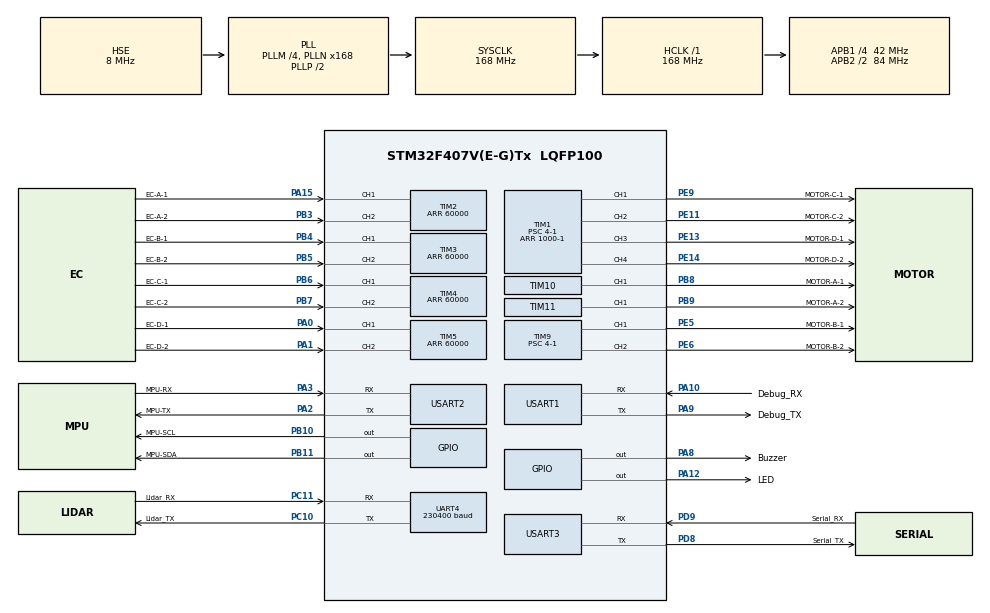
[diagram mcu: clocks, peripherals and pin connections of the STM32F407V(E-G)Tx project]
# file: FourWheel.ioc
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Dma.Request0=USART1_TX
Dma.Request1=USART1_RX
Dma.Request2=USART3_RX
Dma.Request3=USART3_TX
Dma.Request4=USART2_TX
Dma.USART1_RX.1.Direction=DMA_PERIPH_TO_MEMORY
Dma.USART1_RX.1.FIFOMode=DMA_FIFOMODE_DISABLE
Dma.USART1_RX.1.Instance=DMA2_Stream2
Dma.USART1_RX.1.MemDataAlignment=DMA_MDATAALIGN_BYTE
Dma.USART1_RX.1.MemInc=DMA_MINC_ENABLE
Dma.USART1_RX.1.Mode=DMA_NORMAL
Dma.USART1_RX.1.PeriphDataAlignment=DMA_PDATAALIGN_BYTE
Dma.USART1_RX.1.PeriphInc=DMA_PINC_DISABLE
Dma.USART1_RX.1.Priority=DMA_PRIORITY_LOW
Dma.USART1_TX.0.Direction=DMA_MEMORY_TO_PERIPH
Dma.USART1_TX.0.FIFOMode=DMA_FIFOMODE_DISABLE
Dma.USART1_TX.0.Instance=DMA2_Stream7
Dma.USART1_TX.0.MemDataAlignment=DMA_MDATAALIGN_BYTE
Dma.USART1_TX.0.MemInc=DMA_MINC_ENABLE
Dma.USART1_TX.0.Mode=DMA_NORMAL
Dma.USART1_TX.0.PeriphDataAlignment=DMA_PDATAALIGN_BYTE
Dma.USART1_TX.0.PeriphInc=DMA_PINC_DISABLE
Dma.USART1_TX.0.Priority=DMA_PRIORITY_LOW
Dma.USART2_TX.4.Direction=DMA_MEMORY_TO_PERIPH
Dma.USART2_TX.4.FIFOMode=DMA_FIFOMODE_DISABLE
Dma.USART2_TX.4.Instance=DMA1_Stream6
Dma.USART2_TX.4.MemDataAlignment=DMA_MDATAALIGN_BYTE
Dma.USART2_TX.4.MemInc=DMA_MINC_ENABLE
Dma.USART2_TX.4.Mode=DMA_NORMAL
Dma.USART2_TX.4.PeriphDataAlignment=DMA_PDATAALIGN_BYTE
Dma.USART2_TX.4.PeriphInc=DMA_PINC_DISABLE
Dma.USART2_TX.4.Priority=DMA_PRIORITY_LOW
Dma.USART3_RX.2.Direction=DMA_PERIPH_TO_MEMORY
Dma.USART3_RX.2.FIFOMode=DMA_FIFOMODE_DISABLE
Dma.USART3_RX.2.Instance=DMA1_Stream1
Dma.USART3_RX.2.MemDataAlignment=DMA_MDATAALIGN_BYTE
Dma.USART3_RX.2.MemInc=DMA_MINC_ENABLE
Dma.USART3_RX.2.Mode=DMA_NORMAL
Dma.USART3_RX.2.PeriphDataAlignment=DMA_PDATAALIGN_BYTE
Dma.USART3_RX.2.PeriphInc=DMA_PINC_DISABLE
Dma.USART3_RX.2.Priority=DMA_PRIORITY_LOW
Dma.USART3_TX.3.Direction=DMA_MEMORY_TO_PERIPH
Dma.USART3_TX.3.FIFOMode=DMA_FIFOMODE_DISABLE
Dma.USART3_TX.3.Instance=DMA1_Stream3
Dma.USART3_TX.3.MemDataAlignment=DMA_MDATAALIGN_BYTE
Dma.USART3_TX.3.MemInc=DMA_MINC_ENABLE
Dma.USART3_TX.3.Mode=DMA_NORMAL
Dma.USART3_TX.3.PeriphDataAlignment=DMA_PDATAALIGN_BYTE
Dma.USART3_TX.3.PeriphInc=DMA_PINC_DISABLE
Dma.USART3_TX.3.Priority=DMA_PRIORITY_LOW
FREERTOS.BinarySemaphores01=AnlayOderDataFlag,Dynamic,NULL,Depleted
FREERTOS.INCLUDE_uxTaskGetStackHighWaterMark2=0
FREERTOS.Tasks01=defaultTask,8,128,StartDefaultTask,Default,NULL,Dynamic,NULL,NULL;MoveControlTask,32,256,MoveControl,Default,NULL,Dynamic,NULL,NULL;ReadMpuTask,31,256,ReadMpu,Default,NULL,Dynamic,NULL,NULL;OdarGetTask,24,256,OdarGet,Default,NULL,Dynamic,NULL,NULL;DataSendTask,24,128,DataSend,Default,NULL,Dynamic,NULL,NULL
FREERTOS.configENABLE_FPU=1
FREERTOS.configGENERATE_RUN_TIME_STATS=1
FREERTOS.configUSE_STATS_FORMATTING_FUNCTIONS=1
Mcu.Family=STM32F4
Mcu.Name=STM32F407V(E-G)Tx
Mcu.Package=LQFP100
NVIC.DMA1_Stream1_IRQn=true\:5\:0\:false\:false\:true\:true\:false\:true\:true
NVIC.DMA1_Stream3_IRQn=true\:5\:0\:false\:false\:true\:true\:false\:true\:true
NVIC.DMA1_Stream6_IRQn=true\:5\:0\:false\:false\:true\:true\:false\:true\:true
NVIC.DMA2_Stream2_IRQn=true\:5\:0\:false\:false\:true\:true\:false\:true\:true
NVIC.DMA2_Stream7_IRQn=true\:5\:0\:false\:false\:true\:true\:false\:true\:true
NVIC.PriorityGroup=NVIC_PRIORITYGROUP_4
NVIC.TIM8_TRG_COM_TIM14_IRQn=true\:15\:0\:false\:false\:true\:false\:false\:true\:true
NVIC.TimeBase=TIM8_TRG_COM_TIM14_IRQn
NVIC.TimeBaseIP=TIM14
NVIC.UART4_IRQn=true\:5\:0\:false\:false\:true\:true\:true\:true\:true
NVIC.USART1_IRQn=true\:5\:0\:false\:false\:true\:true\:true\:true\:true
NVIC.USART2_IRQn=true\:5\:0\:false\:false\:true\:true\:true\:true\:true
NVIC.USART3_IRQn=true\:5\:0\:false\:false\:true\:true\:true\:true\:true
PA0-WKUP.GPIO_Label=EC-D-1
PA0-WKUP.GPIO_Speed=GPIO_SPEED_FREQ_VERY_HIGH
PA0-WKUP.Signal=S_TIM5_CH1
PA1.GPIO_Label=EC-D-2
PA1.GPIO_Speed=GPIO_SPEED_FREQ_VERY_HIGH
PA1.Signal=S_TIM5_CH2
PA10.GPIO_Label=Debug_RX
PA10.Mode=Asynchronous
PA10.Signal=USART1_RX
PA12.GPIO_Label=LED
PA12.GPIO_Speed=GPIO_SPEED_FREQ_VERY_HIGH
PA12.PinState=GPIO_PIN_SET
PA12.Signal=GPIO_Output
PA13.Mode=Serial_Wire
PA13.Signal=SYS_JTMS-SWDIO
PA14.Mode=Serial_Wire
PA14.Signal=SYS_JTCK-SWCLK
PA15.GPIO_Label=EC-A-1
PA15.Signal=S_TIM2_CH1_ETR
PA2.GPIO_Label=MPU-TX
PA2.GPIO_PuPd=GPIO_PULLUP
PA2.Mode=Asynchronous
PA2.Signal=USART2_TX
PA3.GPIO_Label=MPU-RX
PA3.GPIO_PuPd=GPIO_PULLUP
PA3.Mode=Asynchronous
PA3.Signal=USART2_RX
PA8.GPIO_Label=Buzzer
PA8.PinState=GPIO_PIN_RESET
PA8.Signal=GPIO_Output
PA9.GPIO_Label=Debug_TX
PA9.GPIO_PuPd=GPIO_NOPULL
PA9.Mode=Asynchronous
PA9.Signal=USART1_TX
PB10.GPIO_Label=MPU-SCL
PB10.GPIO_ModeDefaultOutputPP=GPIO_MODE_OUTPUT_OD
PB10.GPIO_PuPd=GPIO_PULLUP
PB10.GPIO_Speed=GPIO_SPEED_FREQ_VERY_HIGH
PB10.PinState=GPIO_PIN_SET
PB10.Signal=GPIO_Output
PB11.GPIO_Label=MPU-SDA
PB11.GPIO_ModeDefaultOutputPP=GPIO_MODE_OUTPUT_OD
PB11.GPIO_PuPd=GPIO_PULLUP
PB11.GPIO_Speed=GPIO_SPEED_FREQ_VERY_HIGH
PB11.PinState=GPIO_PIN_SET
PB11.Signal=GPIO_Output
PB3.GPIO_Label=EC-A-2
PB3.Signal=S_TIM2_CH2
PB4.GPIO_Label=EC-B-1
PB4.GPIO_Speed=GPIO_SPEED_FREQ_VERY_HIGH
PB4.Signal=S_TIM3_CH1
PB5.GPIO_Label=EC-B-2
PB5.GPIO_Speed=GPIO_SPEED_FREQ_VERY_HIGH
PB5.Signal=S_TIM3_CH2
PB6.GPIO_Label=EC-C-1
PB6.GPIO_Speed=GPIO_SPEED_FREQ_VERY_HIGH
PB6.Signal=S_TIM4_CH1
PB7.GPIO_Label=EC-C-2
PB7.GPIO_Speed=GPIO_SPEED_FREQ_VERY_HIGH
PB7.Signal=S_TIM4_CH2
PB8.GPIO_Label=MOTOR-A-1
PB8.GPIO_Speed=GPIO_SPEED_FREQ_VERY_HIGH
PB8.Signal=S_TIM10_CH1
PB9.GPIO_Label=MOTOR-A-2
PB9.GPIO_Speed=GPIO_SPEED_FREQ_VERY_HIGH
PB9.Signal=S_TIM11_CH1
PC10.GPIO_Label=Lidar_TX
PC10.Mode=Asynchronous
PC10.Signal=UART4_TX
PC11.GPIO_Label=Lidar_RX
PC11.Mode=Asynchronous
PC11.Signal=UART4_RX
PD8.GPIO_Label=Serial_TX
PD8.Mode=Asynchronous
PD8.Signal=USART3_TX
PD9.GPIO_Label=Serial_RX
PD9.Mode=Asynchronous
PD9.Signal=USART3_RX
PE11.GPIO_Label=MOTOR-C-2
PE11.GPIO_Speed=GPIO_SPEED_FREQ_VERY_HIGH
PE11.Signal=S_TIM1_CH2
PE13.GPIO_Label=MOTOR-D-1
PE13.GPIO_Speed=GPIO_SPEED_FREQ_VERY_HIGH
PE13.Signal=S_TIM1_CH3
PE14.GPIO_Label=MOTOR-D-2
PE14.GPIO_Speed=GPIO_SPEED_FREQ_VERY_HIGH
PE14.Signal=S_TIM1_CH4
PE5.GPIO_Label=MOTOR-B-1
PE5.GPIO_Speed=GPIO_SPEED_FREQ_VERY_HIGH
PE5.Signal=S_TIM9_CH1
PE6.GPIO_Label=MOTOR-B-2
PE6.GPIO_Speed=GPIO_SPEED_FREQ_VERY_HIGH
PE6.Signal=S_TIM9_CH2
PE9.GPIO_Label=MOTOR-C-1
PE9.GPIO_Speed=GPIO_SPEED_FREQ_VERY_HIGH
PE9.Signal=S_TIM1_CH1
PH0-OSC_IN.Mode=HSE-External-Oscillator
PH0-OSC_IN.Signal=RCC_OSC_IN
PH1-OSC_OUT.Mode=HSE-External-Oscillator
PH1-OSC_OUT.Signal=RCC_OSC_OUT
ProjectManager.HeapSize=0x200
ProjectManager.StackSize=0x400
ProjectManager.TargetToolchain=MDK-ARM V5.32
RCC.48MHZClocksFreq_Value=84000000
RCC.AHBFreq_Value=168000000
RCC.APB1CLKDivider=RCC_HCLK_DIV4
RCC.APB1Freq_Value=42000000
RCC.APB1TimFreq_Value=84000000
RCC.APB2CLKDivider=RCC_HCLK_DIV2
RCC.APB2Freq_Value=84000000
RCC.APB2TimFreq_Value=168000000
RCC.CortexFreq_Value=168000000
RCC.HCLKFreq_Value=168000000
RCC.HSE_VALUE=8000000
RCC.HSI_VALUE=16000000
RCC.LSE_VALUE=32768
RCC.PLLM=4
RCC.PLLN=168
RCC.PLLSourceVirtual=RCC_PLLSOURCE_HSE
RCC.SYSCLKFreq_VALUE=168000000
RCC.SYSCLKSource=RCC_SYSCLKSOURCE_PLLCLK
RCC.VCOOutputFreq_Value=336000000
SH.S_TIM10_CH1.0=TIM10_CH1,PWM Generation1 CH1
SH.S_TIM11_CH1.0=TIM11_CH1,PWM Generation1 CH1
SH.S_TIM1_CH1.0=TIM1_CH1,PWM Generation1 CH1
SH.S_TIM1_CH2.0=TIM1_CH2,PWM Generation2 CH2
SH.S_TIM1_CH3.0=TIM1_CH3,PWM Generation3 CH3
SH.S_TIM1_CH4.0=TIM1_CH4,PWM Generation4 CH4
SH.S_TIM2_CH1_ETR.0=TIM2_CH1,Encoder_Interface
SH.S_TIM2_CH2.0=TIM2_CH2,Encoder_Interface
SH.S_TIM3_CH1.0=TIM3_CH1,Encoder_Interface
SH.S_TIM3_CH2.0=TIM3_CH2,Encoder_Interface
SH.S_TIM4_CH1.0=TIM4_CH1,Encoder_Interface
SH.S_TIM4_CH2.0=TIM4_CH2,Encoder_Interface
SH.S_TIM5_CH1.0=TIM5_CH1,Encoder_Interface
SH.S_TIM5_CH2.0=TIM5_CH2,Encoder_Interface
SH.S_TIM9_CH1.0=TIM9_CH1,PWM Generation1 CH1
SH.S_TIM9_CH2.0=TIM9_CH2,PWM Generation2 CH2
TIM1.Channel-PWM\ Generation1\ CH1=TIM_CHANNEL_1
TIM1.Channel-PWM\ Generation2\ CH2=TIM_CHANNEL_2
TIM1.Channel-PWM\ Generation3\ CH3=TIM_CHANNEL_3
TIM1.Channel-PWM\ Generation4\ CH4=TIM_CHANNEL_4
TIM1.Period=1000-1
TIM1.Prescaler=4-1
TIM10.Channel=TIM_CHANNEL_1
TIM10.Period=1000-1
TIM10.Prescaler=4-1
TIM11.Channel=TIM_CHANNEL_1
TIM11.Period=1000-1
TIM11.Prescaler=4-1
TIM2.EncoderMode=TIM_ENCODERMODE_TI12
TIM2.IC1Polarity=TIM_ICPOLARITY_FALLING
TIM2.Period=60000
TIM3.EncoderMode=TIM_ENCODERMODE_TI12
TIM3.IC1Polarity=TIM_ICPOLARITY_FALLING
TIM3.Period=60000
TIM4.EncoderMode=TIM_ENCODERMODE_TI12
TIM4.Period=60000
TIM5.EncoderMode=TIM_ENCODERMODE_TI12
TIM5.Period=60000
TIM9.Channel-PWM\ Generation1\ CH1=TIM_CHANNEL_1
TIM9.Channel-PWM\ Generation2\ CH2=TIM_CHANNEL_2
TIM9.Period=1000-1
TIM9.Prescaler=4-1
UART4.BaudRate=230400
UART4.VirtualMode=Asynchronous
USART1.VirtualMode=VM_ASYNC
USART2.VirtualMode=VM_ASYNC
USART3.VirtualMode=VM_ASYNC
VP_FREERTOS_VS_CMSIS_V2.Mode=CMSIS_V2
VP_SYS_VS_tim14.Mode=TIM14
VP_TIM10_VS_ClockSourceINT.Mode=Enable_Timer
VP_TIM11_VS_ClockSourceINT.Mode=Enable_Timer
VP_TIM1_VS_ClockSourceINT.Mode=Internal
VP_TIM9_VS_ClockSourceINT.Mode=Internal
board=custom

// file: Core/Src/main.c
/* USER CODE BEGIN Header */
/**
  ******************************************************************************
  * @file           : main.c
  * @brief          : Main program body
  ******************************************************************************
  * @attention
  *
  * Copyright (c) 2025 STMicroelectronics.
  * All rights reserved.
  *
  * This software is licensed under terms that can be found in the LICENSE file
  * in the root directory of this software component.
  * If no LICENSE file comes with this software, it is provided AS-IS.
  *
  ******************************************************************************
  */
/* USER CODE END Header */
#include "main.h"
#include "cmsis_os.h"
#include "dma.h"
#include "tim.h"
#include "usart.h"
#include "gpio.h"

/* USER CODE BEGIN Includes */
#include "motor.h"
/* USER CODE END Includes */

void SystemClock_Config(void);
void MX_FREERTOS_Init(void);

/* USER CODE BEGIN 0 */

extern DMA_HandleTypeDef hdma_usart1_tx;
extern DMA_HandleTypeDef hdma_usart1_rx;
extern DMA_HandleTypeDef hdma_usart2_tx;
extern DMA_HandleTypeDef hdma_usart3_rx;
extern DMA_HandleTypeDef hdma_usart3_tx;
extern uint8_t ORDER_DATA[20];

/* USER CODE END 0 */

int main(void)
{

  /* MCU Configuration--------------------------------------------------------*/

  /* Reset of all peripherals, Initializes the Flash interface and the Systick. */
  HAL_Init();

  /* Configure the system clock */
  SystemClock_Config();

  /* Initialize all configured peripherals */
  MX_GPIO_Init();
  MX_DMA_Init();
  MX_TIM1_Init();
  MX_TIM2_Init();
  MX_TIM3_Init();
  MX_TIM4_Init();
  MX_TIM5_Init();
  MX_USART1_UART_Init();
  MX_TIM9_Init();
  MX_TIM10_Init();
  MX_TIM11_Init();
  MX_USART3_UART_Init();
  MX_USART2_UART_Init();
  MX_UART4_Init();
  /* USER CODE BEGIN 2 */

    Motor_init();
    HAL_UARTEx_ReceiveToIdle_DMA(&huart3,ORDER_DATA,sizeof(ORDER_DATA));//SERIAL
    __HAL_DMA_DISABLE_IT(&hdma_usart3_rx,DMA_IT_HT);

  /* USER CODE END 2 */

  /* Init scheduler */
  osKernelInitialize();

  /* Call init function for freertos objects (in cmsis_os2.c) */
  MX_FREERTOS_Init();

  /* Start scheduler */
  osKernelStart();

  /* We should never get here as control is now taken by the scheduler */

  /* Infinite loop */
    while (1)
    {

    }
}

void SystemClock_Config(void)
{
  RCC_OscInitTypeDef RCC_OscInitStruct = {0};
  RCC_ClkInitTypeDef RCC_ClkInitStruct = {0};

  /** Configure the main internal regulator output voltage
  */
  __HAL_RCC_PWR_CLK_ENABLE();
  __HAL_PWR_VOLTAGESCALING_CONFIG(PWR_REGULATOR_VOLTAGE_SCALE1);

  /** Initializes the RCC Oscillators according to the specified parameters
  * in the RCC_OscInitTypeDef structure.
  */
  RCC_OscInitStruct.OscillatorType = RCC_OSCILLATORTYPE_HSE;
  RCC_OscInitStruct.HSEState = RCC_HSE_ON;
  RCC_OscInitStruct.PLL.PLLState = RCC_PLL_ON;
  RCC_OscInitStruct.PLL.PLLSource = RCC_PLLSOURCE_HSE;
  RCC_OscInitStruct.PLL.PLLM = 4;
  RCC_OscInitStruct.PLL.PLLN = 168;
  RCC_OscInitStruct.PLL.PLLP = RCC_PLLP_DIV2;
  RCC_OscInitStruct.PLL.PLLQ = 4;
  if (HAL_RCC_OscConfig(&RCC_OscInitStruct) != HAL_OK)
  {
    Error_Handler();
  }

  /** Initializes the CPU, AHB and APB buses clocks
  */
  RCC_ClkInitStruct.ClockType = RCC_CLOCKTYPE_HCLK|RCC_CLOCKTYPE_SYSCLK
                              |RCC_CLOCKTYPE_PCLK1|RCC_CLOCKTYPE_PCLK2;
  RCC_ClkInitStruct.SYSCLKSource = RCC_SYSCLKSOURCE_PLLCLK;
  RCC_ClkInitStruct.AHBCLKDivider = RCC_SYSCLK_DIV1;
  RCC_ClkInitStruct.APB1CLKDivider = RCC_HCLK_DIV4;
  RCC_ClkInitStruct.APB2CLKDivider = RCC_HCLK_DIV2;

  if (HAL_RCC_ClockConfig(&RCC_ClkInitStruct, FLASH_LATENCY_5) != HAL_OK)
  {
    Error_Handler();
  }
}

void HAL_TIM_PeriodElapsedCallback(TIM_HandleTypeDef *htim)
{
  if (htim->Instance == TIM14)
  {
    HAL_IncTick();
  }
}

void Error_Handler(void)
{
    __disable_irq();
    while (1)
    {
    }
}

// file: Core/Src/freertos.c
/* USER CODE BEGIN Header */
/**
  ******************************************************************************
  * File Name          : freertos.c
  * Description        : Code for freertos applications
  ******************************************************************************
  * @attention
  *
  * Copyright (c) 2025 STMicroelectronics.
  * All rights reserved.
  *
  * This software is licensed under terms that can be found in the LICENSE file
  * in the root directory of this software component.
  * If no LICENSE file comes with this software, it is provided AS-IS.
  *
  ******************************************************************************
  */
/* USER CODE END Header */

#include "FreeRTOS.h"
#include "task.h"
#include "main.h"
#include "cmsis_os.h"

/* USER CODE BEGIN Includes */
#include "motor.h"
#include "pid.h"
#include "lowpass_filter.h"
#include "usart.h"
#include "mpu.h"
#include "semphr.h"
/* USER CODE END Includes */

/* USER CODE BEGIN PM */

/*mpu*/
#define ACC_UPDATE		0x01
#define GYRO_UPDATE		0x02
#define ANGLE_UPDATE	0x04
#define MAG_UPDATE		0x08
#define READ_UPDATE		0x80
static volatile char s_cDataUpdate = 0, s_cCmd = 0xff;
const uint32_t c_uiBaud[10] = {0, 4800, 9600, 19200, 38400, 57600, 115200, 230400, 460800, 921600};
char mpu_tmp;
float yaw_pre;

static void CmdProcess(void);
static void AutoScanSensor(void);
static void SensorUartSend(uint8_t *p_data, uint32_t uiSize);
static void SensorDataUpdata(uint32_t uiReg, uint32_t uiRegNum);
static void Delayms(uint16_t ucMs);
static float MpuYawInit(int cnt);
static float normalizeYaw(float yaw);
static void BaseSitaUpdate(Car_Stat* carStat,SplitCarTargetParm* Cartar);

/*lidar*/
uint8_t Lidar_Receive_buf[1];
u16 receive_cnt;
u8 confidence;
u16 distance,noise,reftof;
u32 peak,intg;

static uint8_t lidar_state = 0;
static uint16_t lidar_distance = 0;

LidarPointTypedef Pack_Data[12];
LidarPointTypedef Pack_sum;
uint8_t Lidar_Receive_buf[1];
LidarPointTypedef Pack_Data[12];
LidarPointTypedef Pack_sum;

extern UART_HandleTypeDef huart4;
extern UART_HandleTypeDef huart3;
extern UART_HandleTypeDef huart1;

/* USER CODE END PM */

/* USER CODE BEGIN Variables */

LOWPASS_FILTER_T velFilter;
Car_Stat carStat;
CarOrderParam OrderParam;
SplitCarTargetParm Cartar;
enum  MoveTaskNum TASKNUM;

PidCar pidvel;
PidCar piddis;
PidCar pidCalidis;
PidCar pidCalidisDown;

PidWheel pidsita;

extern DMA_HandleTypeDef hdma_usart1_tx;
extern DMA_HandleTypeDef hdma_usart1_rx;
extern DMA_HandleTypeDef hdma_usart3_rx;
extern DMA_HandleTypeDef hdma_usart3_tx;

uint8_t ORDER_DATA[20];

volatile int TaskOverFlag=0;
volatile int ResponseLidarGet=0;
volatile int EnUpLidarDisRead=0;
volatile int EnUpLidarDisTask=0;

volatile int mpuFlag=1;

/* USER CODE END Variables */
/* Definitions for defaultTask */
osThreadId_t defaultTaskHandle;
const osThreadAttr_t defaultTask_attributes = {
    .name = "defaultTask",
    .stack_size = 128 * 4,
    .priority = (osPriority_t) osPriorityLow,
};
/* Definitions for MoveControlTask */
osThreadId_t MoveControlTaskHandle;
const osThreadAttr_t MoveControlTask_attributes = {
    .name = "MoveControlTask",
    .stack_size = 256 * 4,
    .priority = (osPriority_t) osPriorityAboveNormal,
};
/* Definitions for ReadMpuTask */
osThreadId_t ReadMpuTaskHandle;
const osThreadAttr_t ReadMpuTask_attributes = {
    .name = "ReadMpuTask",
    .stack_size = 256 * 4,
    .priority = (osPriority_t) osPriorityNormal7,
};
/* Definitions for OdarGetTask */
osThreadId_t OdarGetTaskHandle;
const osThreadAttr_t OdarGetTask_attributes = {
    .name = "OdarGetTask",
    .stack_size = 256 * 4,
    .priority = (osPriority_t) osPriorityNormal,
};
/* Definitions for DataSendTask */
osThreadId_t DataSendTaskHandle;
const osThreadAttr_t DataSendTask_attributes = {
    .name = "DataSendTask",
    .stack_size = 128 * 4,
    .priority = (osPriority_t) osPriorityNormal,
};
/* Definitions for AnlayOderDataFlag */
osSemaphoreId_t AnlayOderDataFlagHandle;
const osSemaphoreAttr_t AnlayOderDataFlag_attributes = {
    .name = "AnlayOderDataFlag"
};

void StartDefaultTask(void *argument);
void MoveControl(void *argument);
void ReadMpu(void *argument);
void OdarGet(void *argument);
void DataSend(void *argument);

void MX_FREERTOS_Init(void); /* (MISRA C 2004 rule 8.1) */

/* Hook prototypes */
void configureTimerForRunTimeStats(void);
unsigned long getRunTimeCounterValue(void);

/* USER CODE BEGIN 1 */
/* Functions needed when configGENERATE_RUN_TIME_STATS is on */
__weak void configureTimerForRunTimeStats(void)
{

}

__weak unsigned long getRunTimeCounterValue(void)
{
    return 0;
}
/* USER CODE END 1 */

void MX_FREERTOS_Init(void) {

    /* Create the semaphores(s) */
    /* creation of AnlayOderDataFlag */
    AnlayOderDataFlagHandle = osSemaphoreNew(1, 0, &AnlayOderDataFlag_attributes);

    /* Create the thread(s) */
    /* creation of defaultTask */
    defaultTaskHandle = osThreadNew(StartDefaultTask, NULL, &defaultTask_attributes);

    /* creation of MoveControlTask */
    MoveControlTaskHandle = osThreadNew(MoveControl, NULL, &MoveControlTask_attributes);

    /* creation of ReadMpuTask */
    ReadMpuTaskHandle = osThreadNew(ReadMpu, NULL, &ReadMpuTask_attributes);

    /* creation of OdarGetTask */
    OdarGetTaskHandle = osThreadNew(OdarGet, NULL, &OdarGetTask_attributes);

    /* creation of DataSendTask */
    DataSendTaskHandle = osThreadNew(DataSend, NULL, &DataSendTask_attributes);

}

void StartDefaultTask(void *argument)
{
    /* USER CODE BEGIN StartDefaultTask */

    /* Infinite loop */
    for(;;)
    {
        //printf("%d,%f\r\n",carStat.SideLidarCaliDis,Cartar.Tar_LBvel);
		//printf("%d\r\n",lidar_distance);
        //printf("%.1f,%.1f,%.1f\r\n",carStat.Dis,Cartar.Tar_dis,Cartar.Tar_LBvel);
        //printf("%.1f\r\n",carStat.Sita);
        HAL_GPIO_TogglePin(LED_GPIO_Port,LED_Pin);
        osDelay(80);
    }
    /* USER CODE END StartDefaultTask */
}

void MoveControl(void *argument)
{
    /* USER CODE BEGIN MoveControl */
    TASKNUM =Free;
    Cartar.MaxVel = Def_Max_Vel;

    int SitaOverFlag =0;
    static  int MoveReadyCnt=0;
    static int CntFlag=1;

    BaseType_t xHigherPriorityTaskWoken = pdFALSE;
    const TickType_t xFrequency = pdMS_TO_TICKS(Ts*1000); // 10ms周期
    const TickType_t xDelay = pdMS_TO_TICKS(1000); // 延迟1000毫秒

    PidMlpi_Param_Init(&pidvel,5.5,1.0,0);
    PidMlpi_Param_Init(&piddis,2.0,0,1.2);
    PidParam_Init(&pidsita,2.85,0.008,4);

	PidMlpi_Param_Init(&pidCalidis,10,0.05,4);
	PidMlpi_Param_Init(&pidCalidisDown,0.12,0.0002,1);

    while(mpuFlag) {
        vTaskDelay(xDelay);
    }

    TickType_t xLastWakeTime = xTaskGetTickCount();

    /* Infinite loop */
    for(;;)
    {

        MoveReadyCnt+=1;
        if(MoveReadyCnt>=50 && (CntFlag != 0)) {
            printf("READY\r\n");
            MoveReadyCnt =0;
            CntFlag =0;
        }

        /*逆运动学解算*/
        CarInv_Kinematics(&carStat);

        /*角度环*/
        SitaOverFlag = CarSitaSet(&Cartar,&carStat,&pidsita);

        /*指定距离，前进*/
        if(TASKNUM == AheadSpDis) {
            TaskOverFlag = CarDisSet(&Cartar,&carStat,&piddis);

            if(TaskOverFlag) {
                TASKNUM = Free;

                xTaskNotifyGive(DataSendTaskHandle);

            }
        }

        /*旋转指定角度*/
        else if(TASKNUM == RotateSpAngle) {
            if(SitaOverFlag) {
                TaskOverFlag = 1;
                BaseSitaUpdate(&carStat,&Cartar);//坐标系重置
                TASKNUM = Free;

                xTaskNotifyGive(DataSendTaskHandle);

            }
        }

        /*上位机雷达标定*/
        else if(TASKNUM == CalibraUpLidarDis && (EnUpLidarDisTask==1) ) {
            TaskOverFlag += CarDisCalibration(&Cartar,&carStat,&pidCalidis);
            if(TaskOverFlag>=3) {
                EnUpLidarDisRead = 0;
                EnUpLidarDisTask = 0;
                TASKNUM = Free;

                xTaskNotifyGive(DataSendTaskHandle);
            }
        }

        /*下位机激光标定*/
        else if(TASKNUM == CalibraDownLidarDis) {
            TaskOverFlag += CarDisCalibrationStable(&Cartar,&carStat,&pidCalidisDown);

            if(TaskOverFlag>=5) {
                LidarUart_ISREN(0);
                TASKNUM = Free;

                xTaskNotifyGive(DataSendTaskHandle);
            }
        }

        /*空闲*/
        if(TASKNUM==Free) {
            Refresh_CarDis(&carStat);
            Refresh_Car(&Cartar,&OrderParam);
        }

        WheelVelSet(&Cartar,&carStat,&pidvel);
        vTaskDelayUntil(&xLastWakeTime, xFrequency);
    }
    /* USER CODE END MoveControl */
}

void ReadMpu(void *argument)
{
    /* USER CODE BEGIN ReadMpu */
    float yaw;
    float fAcc[3], fGyro[3], fAngle[3];
    int i;

    int ReadMpu=0;
    static int CntFlag=1;

    MPU_Usart_Init(9600);

    WitInit(WIT_PROTOCOL_NORMAL, 0x50);//初始化JY61
    WitSerialWriteRegister(SensorUartSend); //注册写回调函数
    WitRegisterCallBack(SensorDataUpdata);//注册获取传感器数据回调函数
    WitDelayMsRegister(Delayms);
    AutoScanSensor();  //自动搜索传感器

    carStat.baseSita = MpuYawInit(10);
    /* Infinite loop */
    for(;;)
    {
        CmdProcess();
        if(s_cDataUpdate) {
            fAngle[2] = sReg[Roll+2] / 32768.0f * 180.0f;
            if(s_cDataUpdate & ANGLE_UPDATE) {
                s_cDataUpdate &= ~ANGLE_UPDATE;

                carStat.AbsSita = fAngle[2];//绝对
                carStat.Sita = normalizeYaw(fAngle[2] - carStat.baseSita);//相对
            }
        }

        ReadMpu+=1;
        if(ReadMpu>=10 &&(CntFlag!=0)) {
            mpuFlag = 0;
            CntFlag =0;
        }

        osDelay(20);
    }
    /* USER CODE END ReadMpu */
}

void OdarGet(void *argument)
{
    /* USER CODE BEGIN OdarGet */
    BaseType_t xHigherPriorityTaskWoken = pdFALSE;

    /* Infinite loop */
    for(;;)
    {
        //命令表格：
        //指令1： 指定v,w	v,w
        //指令2： 指定距离	max_v,dis
        //指令3:  指定角度	max_v:sita
        //指令4： 距离标定	dis
        //指令5： 角度标定  dis
        if(xSemaphoreTake(AnlayOderDataFlagHandle, portMAX_DELAY) == pdTRUE) {

            // 检查最小有效长度：帧头 + | + 命令号 + 2个参数 + 帧尾
            size_t data_len = strlen((char*)ORDER_DATA);
            if(data_len < 6) {  // 最小如：@|1|0|0|#
                printf("ERR: Data too short! Len=%d\r\n", data_len);
                continue;
            }

            // 检查帧头
            if(ORDER_DATA[0] != HEADER_CHAR) {
                printf("ERR: Missing header! Got %c\r\n", ORDER_DATA[0]);
                continue;
            }

            // 检查帧尾
            if(ORDER_DATA[data_len-1] != FOOTER_CHAR) {
                printf("ERR: Missing footer! Got %c\r\n", ORDER_DATA[data_len-1]);
                continue;
            }

            //确认有三个竖线分隔符
            int separator_count = 0;
            for(int i=0; i<data_len; i++) {
                if(ORDER_DATA[i] == '|') separator_count++;
            }
            if(separator_count < 3) {
                printf("ERR: Missing separators! Count=%d\r\n", separator_count);
                continue;
            }

            int Task_type;
            float value1 = 0, value2 = 0;
            int parsed = sscanf((char*)ORDER_DATA, "@|%d|%f|%f|#", &Task_type, &value1, &value2);

            // 检查解析结果
            if(parsed < 3) {
                printf("ERR: Parse failed! Got %d fields, expected 3\r\n", parsed);
                printf("Raw data: %s\r\n", ORDER_DATA);
                continue;
            }

            // 任务可用性检查
            if(TASKNUM!=Free) {
                printf("ERR: Task busy, wait for completion!\r\n");
                continue;
            }

            TaskOverFlag = 0;
            ResponseLidarGet = 0;
            EnUpLidarDisRead = 0;
            EnUpLidarDisTask = 0;

            switch(Task_type) {
            case 1: // 指定v,w: v,w
                printf("[TASK1]: v=%.2f, w=%.2f\r\n", value1, value2);
                OrderParam.Order_vel = value1;
                OrderParam.Order_omeiga = value2;
                Refresh_CarDis(&carStat);
                Split_CarTarParam(&Cartar, &OrderParam);

				TASKNUM = Nav2Interfaces;
                break;

            case 2: // 指定距离: max_v, dis
                printf("[TASK2]: max_v=%.2f, dis=%.2f\r\n", value1, value2);
                OrderParam.Order_MAXvel = value1;
                OrderParam.Order_dis = value2;
                Refresh_CarDis(&carStat);
                Split_CarTarParam(&Cartar, &OrderParam);

				TASKNUM = AheadSpDis;
                break;

            case 3: // 指定角度: max_v, sita
                printf("[TASK3]: max_v=%.2f, sita=%.2f\r\n", value1, value2);
                if(fabs(value2) <= 180.0f) {
                    OrderParam.Order_MAXvel = value1;
                    OrderParam.Order_sita = value2;
                    Refresh_CarDis(&carStat);
                    Split_CarTarParam(&Cartar, &OrderParam);

					TASKNUM = RotateSpAngle;
                }
				else printf("TASK3]ERR: Angle out of range! %.1f°\n", value2);
                break;

            case 4: // 上位机距离标定: dis
                printf("[TASK4]: CalibraUpLidarDis=%.2f val:%.2f\r\n", value1,value2);
                OrderParam.Order_dis = value1;
                OrderParam.Order_MAXvel = value2;
                TASKNUM = CalibraUpLidarDis;
                Refresh_CarDis(&carStat);
                Split_CarTarParam(&Cartar, &OrderParam);

                //唤醒DataSend响应lidar
                ResponseLidarGet= 1;
                xTaskNotify(
                    DataSendTaskHandle,
                    0,
                    eNoAction
                );
				TASKNUM = CalibraUpLidarDis;
                break;

            case 5: // 下位机距离标定: dis
                printf("[TASK5]: CalibraDownLidarDis=%.2f\r\n", value1,value2);
                OrderParam.Order_dis = value1;
				OrderParam.Order_MAXvel = value2;
                Refresh_CarDis(&carStat);
                Split_CarTarParam(&Cartar, &OrderParam);
                LidarUart_ISREN(1); // 启用激光

				TASKNUM = CalibraDownLidarDis;
                break;

            case 6: //调试
                printf("[TASK6]: valdebug=%.2f\r\n", value1);
                Cartar.RBvel = value1;
                Cartar.RFvel = value1;
                Cartar.LBvel = value1;
                Cartar.LFvel = value1;
                Cartar.MaxVel = 1000;

                break;

            default:
                printf("ERR: NO THIS TASK! %d\r\n", Task_type);
                break;
            }
        }
    }
    /* USER CODE END OdarGet */
}

void DataSend(void *argument)
{
    /* USER CODE BEGIN DataSend */

    uint8_t Done[] = "Done\r\n";
    uint8_t UpLidarAllowStart[] = "UpLidarAllowStart\r\n";

    /* Infinite loop */
    for(;;)
    {
        //阻塞等待通知
        ulTaskNotifyTake(            // 比xTaskNotifyWait更简洁
            pdTRUE,                  // 退出时清零通知值
            portMAX_DELAY            // 无限等待
        );

        //DONE
        if(TaskOverFlag) {
            HAL_UART_Transmit_DMA(&huart3,Done,sizeof(Done));
            TaskOverFlag = 0;
        }

        //LidarGet
        else if(ResponseLidarGet) {
            HAL_UART_Transmit_DMA(&huart3,UpLidarAllowStart,sizeof(UpLidarAllowStart)-1);
            ResponseLidarGet = 0;
            EnUpLidarDisRead = 1;
        }
    }
    /* USER CODE END DataSend */
}

/* USER CODE BEGIN Application */

/*ISR*/
void HAL_UART_RxCpltCallback(UART_HandleTypeDef *huart) {

	//MPU
    if(huart==(&huart2) ) {
        WitSerialDataIn(mpu_tmp);
        HAL_UART_Receive_IT(&huart2,&mpu_tmp,1);
    }

    //Lidar
    else if(huart == (&huart4)) {
        uint8_t temp_data = Lidar_Receive_buf[0];

        // 状态机处理
        switch(lidar_state) {
        // 帧头检测 (0-3状态)
        case 0:
        case 1:
        case 2:
        case 3:
            if(temp_data == HEADER) {
                lidar_state++;
            } else {
                lidar_state = 0;
            }
            break;

        // 设备地址检测 (状态4)
        case 4:
            if(temp_data == device_address) {
                lidar_state++;
            } else {
                lidar_state = 0;
            }
            break;

        // 包类型检测 (状态5)
        case 5:
            if(temp_data == PACK_GET_DISTANCE) {
                lidar_state++;
            } else {
                lidar_state = 0; // 非距离包，重置状态机
            }
            break;

        // 跳过不必要数据 (状态6-9)
        case 6:
        case 7:
        case 8:
        case 9:
            lidar_state++;
            break;

        // 距离低字节 (状态10)
        case 10:
            lidar_distance = temp_data; // 存储低字节
            lidar_state++;
            break;

        // 距离高字节 (状态11)
        case 11:
            lidar_distance |= (temp_data << 8); // 组合高字节
			carStat.SideLidarCaliDis = lidar_distance;
            lidar_state = 0; // 重置状态机

            break;

        default:
            lidar_state = 0;
            break;
        }
        // 重启接收
        HAL_UART_Receive_IT(&huart4, Lidar_Receive_buf, sizeof(Lidar_Receive_buf));
    }

}

int cnt_ = 0;
void HAL_UARTEx_RxEventCallback(UART_HandleTypeDef *huart, uint16_t Size) {
    BaseType_t xHigherPriorityTaskWoken = pdFALSE;

    if(huart == &huart3) {

        HAL_UARTEx_ReceiveToIdle_DMA(&huart3,ORDER_DATA,sizeof(ORDER_DATA));
        __HAL_DMA_DISABLE_IT(&hdma_usart3_rx,DMA_IT_HT);

        //lidar
        if((ORDER_DATA[0] == '|')) {

            if(EnUpLidarDisRead) {
                cnt_+=1;
                float dis;
                int parsed = sscanf((char*)ORDER_DATA, "|%f|", &dis);
                carStat.FrontLidarCaliDis = dis;
                if(cnt_>=10) {
                    EnUpLidarDisTask = 1;
                    cnt_=0;
                }
            }

            else {
                printf("unget uplidartask\r\n");
            }

        }

        else if(ORDER_DATA[0] == '@') {
            xSemaphoreGiveFromISR(AnlayOderDataFlagHandle, &xHigherPriorityTaskWoken);
            portYIELD_FROM_ISR(xHigherPriorityTaskWoken);
        }

    }
}

static void BaseSitaUpdate(Car_Stat* carStat,SplitCarTargetParm* Cartar) {
    carStat->baseSita += Cartar->Tar_sita;
    carStat->baseSita = normalizeYaw(carStat->baseSita);
}

/**
 * @brief 将Yaw角规范化到[-180°, 180°]范围
 * @param yaw 原始Yaw角度值(单位：度)
 * @return 规范化后的Yaw角度，范围[-180, 180]
 */
static float normalizeYaw(float yaw) {
    // 第一步：将角度限制在0°-360°范围内
    yaw = fmodf(yaw, 360.0f);

    // 处理负数情况：确保在[0, 360)范围内
    if (yaw < 0) {
        yaw += 360.0f;
    }

    // 第二步：将>180°的角度转换为负角度（周期性映射）
    if (yaw > 180.0f) {
        yaw -= 360.0f;
    }

    return yaw;
}

static float MpuYawInit(int cnt) {
    float init_yaw = 0;
    float fAngle[3];
    int c_=0;
    while(c_<=cnt) {
        CmdProcess();
        if(s_cDataUpdate) {
            fAngle[2] = sReg[Roll+2] / 32768.0f * 180.0f;
            if(s_cDataUpdate & ANGLE_UPDATE) {
                c_+=1;
                s_cDataUpdate &= ~ANGLE_UPDATE;
                init_yaw += fAngle[2];
            }
        }
    }
    init_yaw = init_yaw/(float)c_;
    return init_yaw;

}

void CopeCmdData(unsigned char ucData)
{
    static unsigned char s_ucData[50], s_ucRxCnt = 0;

    s_ucData[s_ucRxCnt++] = ucData;
    if(s_ucRxCnt<3)return;										//Less than three data returned
    if(s_ucRxCnt >= 50) s_ucRxCnt = 0;
    if(s_ucRxCnt >= 3)
    {
        if((s_ucData[1] == '\r') && (s_ucData[2] == '\n'))
        {
            s_cCmd = s_ucData[0];
            memset(s_ucData,0,50);
            s_ucRxCnt = 0;
        }
        else
        {
            s_ucData[0] = s_ucData[1];
            s_ucData[1] = s_ucData[2];
            s_ucRxCnt = 2;

        }
    }

}

static void CmdProcess(void)
{
    switch(s_cCmd)
    {
    case 'a':
        if(WitStartAccCali() != WIT_HAL_OK)
            printf("\r\nSet AccCali Error\r\n");
        break;
    case 'm':
        if(WitStartMagCali() != WIT_HAL_OK)
            printf("\r\nSet MagCali Error\r\n");
        break;
    case 'e':
        if(WitStopMagCali() != WIT_HAL_OK)
            printf("\r\nSet MagCali Error\r\n");
        break;
    case 'u':
        if(WitSetBandwidth(BANDWIDTH_5HZ) != WIT_HAL_OK)
            printf("\r\nSet Bandwidth Error\r\n");
        break;
    case 'U':
        if(WitSetBandwidth(BANDWIDTH_256HZ) != WIT_HAL_OK)
            printf("\r\nSet Bandwidth Error\r\n");
        break;
    case 'B':
        if(WitSetUartBaud(WIT_BAUD_115200) != WIT_HAL_OK)
            printf("\r\nSet Baud Error\r\n");
        else
            MPU_Usart_Init(c_uiBaud[WIT_BAUD_115200]);
        break;
    case 'b':
        if(WitSetUartBaud(WIT_BAUD_9600) != WIT_HAL_OK)
            printf("\r\nSet Baud Error\r\n");
        else
            MPU_Usart_Init(c_uiBaud[WIT_BAUD_9600]);
        break;
    case 'R':
        if(WitSetOutputRate(RRATE_10HZ) != WIT_HAL_OK)
            printf("\r\nSet Rate Error\r\n");
        break;
    case 'r':
        if(WitSetOutputRate(RRATE_1HZ) != WIT_HAL_OK)
            printf("\r\nSet Rate Error\r\n");
        break;
    case 'C':
        if(WitSetContent(RSW_ACC|RSW_GYRO|RSW_ANGLE|RSW_MAG) != WIT_HAL_OK)
            printf("\r\nSet RSW Error\r\n");
        break;
    case 'c':
        if(WitSetContent(RSW_ACC) != WIT_HAL_OK)
            printf("\r\nSet RSW Error\r\n");
        break;
    case 'h':
        //ShowHelp();
        break;
    }
    s_cCmd = 0xff;
}

// 有static（文件内私有）
static void SensorUartSend(uint8_t *p_data, uint32_t uiSize)
{
    HAL_UART_Transmit(&huart2, p_data, uiSize, HAL_MAX_DELAY);
}

static void Delayms(uint16_t ucMs)
{
    HAL_Delay(ucMs);
}

static void SensorDataUpdata(uint32_t uiReg, uint32_t uiRegNum)
{
    int i;
    for(i = 0; i < uiRegNum; i++)
    {
        switch(uiReg)
        {
//            case AX:
//            case AY:
        case AZ:
            s_cDataUpdate |= ACC_UPDATE;
            break;
//            case GX:
//            case GY:
        case GZ:
            s_cDataUpdate |= GYRO_UPDATE;
            break;
//            case HX:
//            case HY:
        case HZ:
            s_cDataUpdate |= MAG_UPDATE;
            break;
//            case Roll:
//            case Pitch:
        case Yaw:
            s_cDataUpdate |= ANGLE_UPDATE;
            break;
        default:
            s_cDataUpdate |= READ_UPDATE;
            break;
        }
        uiReg++;
    }
}

static void AutoScanSensor(void)
{
    int i, iRetry;

    for(i = 1; i < 10; i++)
    {
        MPU_Usart_Init(c_uiBaud[i]);
        iRetry = 2;
        do
        {
            s_cDataUpdate = 0;
            WitReadReg(AX, 3);
            HAL_Delay(100);
            if(s_cDataUpdate != 0)
            {
                //printf("%d baud find sensor\r\n\r\n", c_uiBaud[i]);
                //ShowHelp();
                return ;
            }
            iRetry--;
        } while(iRetry);
    }
    printf("can not find sensor\r\n");
    printf("please check your connection\r\n");
}

/* USER CODE END Application */
